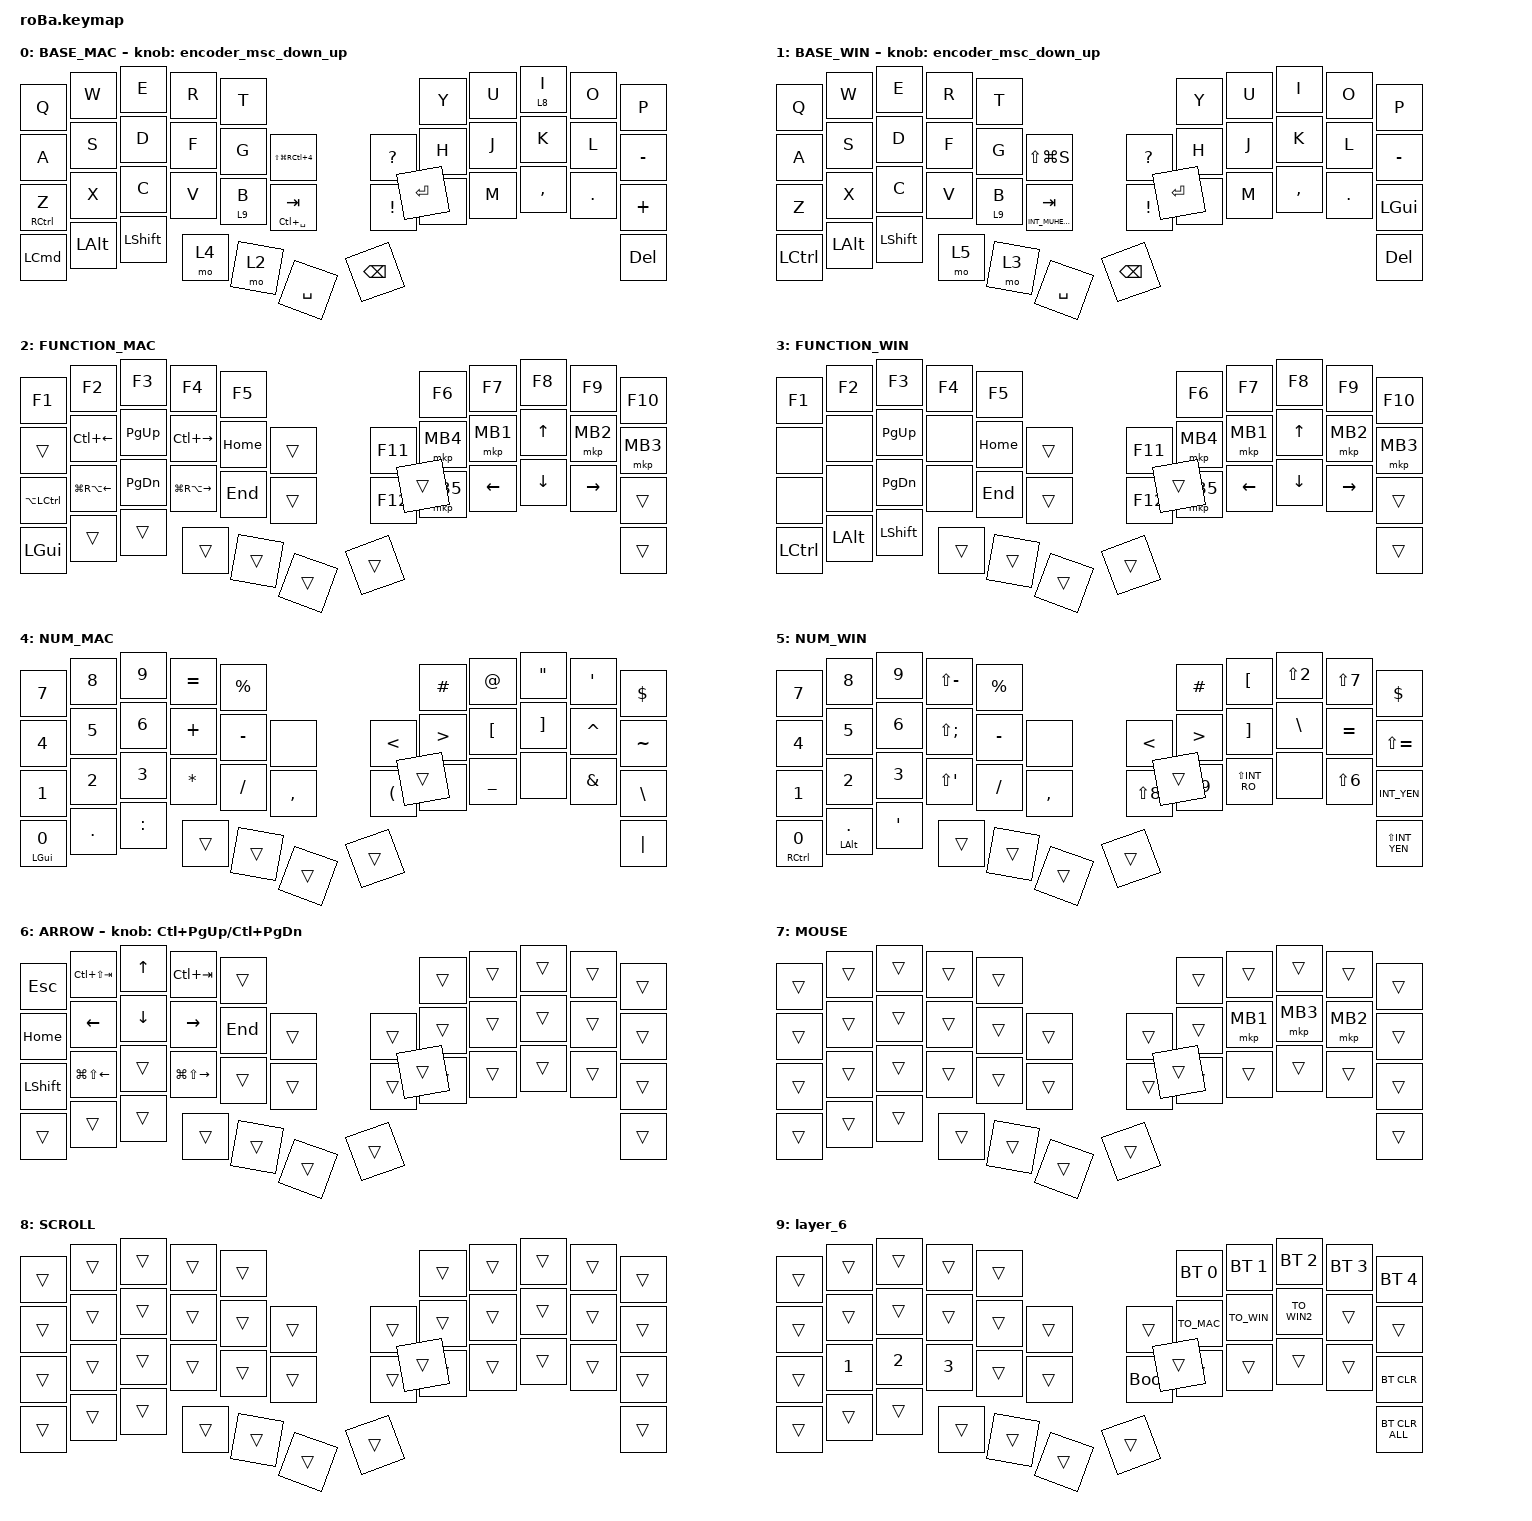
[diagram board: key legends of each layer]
#include <behaviors.dtsi>
#include <dt-bindings/zmk/bt.h>
#include <dt-bindings/zmk/keys.h>
#include <dt-bindings/zmk/pointing.h>

// OS設定が日本語キーボード(JIS)のまま、US配列っぽく打つための定義
// LS = Left Shift

#define JP_DQUOTE     LS(N2)            // " (JISではShift+2)
#define JP_AMPERSAND  LS(N6)            // & (JISではShift+6)
#define JP_QUOTE      LS(N7)            // ' (JISではShift+7)
#define JP_LPAREN     LS(N8)            // ( (JISではShift+8)
#define JP_RPAREN     LS(N9)            // ) (JISではShift+9)
#define JP_EQUAL      LS(MINUS)         // = (JISではShift+-)
#define JP_PLUS       LS(SEMICOLON)     // + (JISではShift+;)
#define JP_ASTERISK   LS(SINGLE_QUOTE)  // * (JISではShift+:)
#define JP_COLON      SINGLE_QUOTE      // : (JISでは物理的な ' の位置)
#define JP_AT         LEFT_BRACKET      // @ (JISでは物理的な [ の位置)
#define JP_LBRACKET   RIGHT_BRACKET     // [ (JISでは物理的な ] の位置)
#define JP_RBRACKET   BACKSLASH         // ] (JISでは物理的な \ の位置)
#define JP_CARET      EQUAL             // ^ (JISでは物理的な = の位置)
#define JP_TILDE      LS(EQUAL)         // ~ (JISではShift+^)
#define JP_PIPE       LS(INT_YEN)      // | (JISの「¥」キー + Shift)
#define JP_UNDERSCORE LS(INT_RO)        // _ (JISではShift+ろ)
#define JP_YEN        INT_RO            // ¥ (JISでは「ろ」のキー)
#define JP_BACKQUOTE  LS(LEFT_BRACKET)  // ` (JISではShift+@)
#define JP_BACKSLASH   INT_YEN           // \ (JISの「¥」キー)

// IME切り替え（Windows用）

#define JP_EISU       INT_MUHENKAN      // 無変換キーを英数へ
#define JP_KANA       INT_HENKAN        // 変換キーをかなへ

//スクロール量変更の定義を追記

#define ZMK_POINTING_DEFAULT_SCRL_VAL 80

&mt {
    flavor = "balanced";
    tapping-term-ms = <300>;
    quick-tap-ms = <0>;
};

&lt {
    tapping-term-ms = <300>;
};

&trackball {
    automouse-layer = <7>;
    scroll-layers = <8>;

    // arrows {
    //     layers = <3>;
    //     bindings =
    //         <&kp RIGHT_ARROW>,
    //         <&kp LEFT_ARROW>,
    //         <&kp UP_ARROW>,
    //         <&kp DOWN_ARROW>;
    //     tick = <10>;
    //     wait-ms = <5>;
    //     tap-ms = <5>;
    // };
};

/ {
    combos {
        compatible = "zmk,combos";

        tab {
            bindings = <&kp ESCAPE>;
            key-positions = <0 1>;
        };
    };

    macros {
        to_layer_0: to_layer_0 {
            compatible = "zmk,behavior-macro-one-param";
            #binding-cells = <1>;
            bindings = <&to 0 &macro_param_1to1 &kp MACRO_PLACEHOLDER>;
            label = "TO_LAYER_0";
        };

        TO_MAC: TO_MAC {
            compatible = "zmk,behavior-macro";
            #binding-cells = <0>;
            bindings = <&none &bt BT_SEL 0 &to 0>;
            label = "TO_MAC";
        };

        TO_WIN: TO_WIN {
            compatible = "zmk,behavior-macro";
            #binding-cells = <0>;
            bindings = <&none &bt BT_SEL 1 &to 1>;
            label = "TO_WIN";
        };

        TO_WIN2: TO_WIN2 {
            compatible = "zmk,behavior-macro";
            #binding-cells = <0>;
            bindings = <&none &bt BT_SEL 2 &to 1>;
            label = "TO_WIN2";
        };
    };

    behaviors {
        //スクロール用のbehavior追加

        encoder_msc_down_up: encoder_msc_down_up {
            compatible = "zmk,behavior-sensor-rotate";
            label = "ENCODER_MSC_DOWN_UP";
            #sensor-binding-cells = <0>;
            bindings = <&msc SCRL_DOWN>, <&msc SCRL_UP>;

            tap-ms = <20>;
        };

        //スクロール用のbehavior追加ここまで

        lt_to_layer_0: lt_to_layer_0 {
            compatible = "zmk,behavior-hold-tap";
            label = "LAYER_TAP_TO_0";
            bindings = <&mo>, <&to_layer_0>;

            #binding-cells = <2>;
            tapping-term-ms = <200>;
        };
    };

    keymap {
        compatible = "zmk,keymap";

        BASE_MAC {
            bindings = <
&kp Q             &kp W         &kp E           &kp R  &kp T                                                   &kp Y       &kp U  &lt 8 I    &kp O    &kp P
&kp A             &kp S         &kp D           &kp F  &kp G    &kp LS(LG(RC(NUMBER_4)))      &kp QUESTION     &kp H       &kp J  &kp K      &kp L    &kp MINUS
&mt RCTRL Z       &kp X         &kp C           &kp V  &lt 9 B  &mt LC(SPACE) TAB             &kp EXCLAMATION  &kp N       &kp M  &kp COMMA  &kp DOT  &kp PLUS
&kp LEFT_COMMAND  &kp LEFT_ALT  &kp LEFT_SHIFT  &mo 4  &mo 2    &kp SPACE                     &kp BACKSPACE    &kp RETURN                             &kp DEL
            >;

            //  sensor-bindings = <&inc_dec_kp PG_UP PAGE_DOWN>;

            sensor-bindings = <&encoder_msc_down_up>;
        };

        BASE_WIN {
            bindings = <
&kp Q             &kp W         &kp E           &kp R  &kp T                                               &kp Y       &kp U  &kp I      &kp O    &kp P
&kp A             &kp S         &kp D           &kp F  &kp G    &kp LS(LG(S))             &kp QUESTION     &kp H       &kp J  &kp K      &kp L    &kp MINUS
&kp Z             &kp X         &kp C           &kp V  &lt 9 B  &mt INT_MUHENKAN TAB      &kp EXCLAMATION  &kp N       &kp M  &kp COMMA  &kp DOT  &kp LEFT_GUI
&kp LEFT_CONTROL  &kp LEFT_ALT  &kp LEFT_SHIFT  &mo 5  &mo 3    &kp SPACE                 &kp BACKSPACE    &kp RETURN                             &kp DEL
            >;

            sensor-bindings = <&encoder_msc_down_up>;
        };

        FUNCTION_MAC {
            bindings = <
&kp F1                &kp F2              &kp F3         &kp F4             &kp F5                         &kp F6    &kp F7          &kp F8        &kp F9     &kp F10
&trans                &kp LC(LEFT_ARROW)  &kp PAGE_UP    &kp LC(RIGHT)      &kp HOME  &trans      &kp F11  &mkp MB4  &mkp MB1        &kp UP_ARROW  &mkp MB2   &mkp MB3
&kp LA(LEFT_CONTROL)  &kp LG(RA(LEFT))    &kp PAGE_DOWN  &kp LG(RA(RIGHT))  &kp END   &trans      &kp F12  &mkp MB5  &kp LEFT_ARROW  &kp DOWN      &kp RIGHT  &trans
&kp LEFT_GUI          &trans              &trans         &trans             &trans    &trans      &trans   &trans                                             &trans
            >;
        };

        FUNCTION_WIN {
            bindings = <
&kp F1            &kp F2        &kp F3          &kp F4  &kp F5                         &kp F6    &kp F7          &kp F8        &kp F9     &kp F10
&none             &none         &kp PAGE_UP     &none   &kp HOME  &trans      &kp F11  &mkp MB4  &mkp MB1        &kp UP_ARROW  &mkp MB2   &mkp MB3
&none             &none         &kp PAGE_DOWN   &none   &kp END   &trans      &kp F12  &mkp MB5  &kp LEFT_ARROW  &kp DOWN      &kp RIGHT  &trans
&kp LEFT_CONTROL  &kp LEFT_ALT  &kp LEFT_SHIFT  &trans  &trans    &trans      &trans   &trans                                             &trans
            >;
        };

        NUM_MAC {
            bindings = <
&kp N7           &kp N8        &kp N9        &kp EQUAL     &kp PERCENT                                       &kp HASH               &kp AT_SIGN       &kp DOUBLE_QUOTES  &kp SQT        &kp DOLLAR
&kp NUMBER_4     &kp N5        &kp NUMBER_6  &kp PLUS      &kp MINUS    &none          &kp LESS_THAN         &kp GREATER_THAN       &kp LEFT_BRACKET  &kp RIGHT_BRACKET  &kp CARET      &kp TILDE
&kp NUMBER_1     &kp NUMBER_2  &kp NUMBER_3  &kp ASTERISK  &kp SLASH    &kp COMMA      &kp LEFT_PARENTHESIS  &kp RIGHT_PARENTHESIS  &kp UNDERSCORE    &none              &kp AMPERSAND  &kp BACKSLASH
&mt LEFT_GUI N0  &kp PERIOD    &kp COLON     &trans        &trans       &trans         &trans                &trans                                                                     &kp PIPE
            >;
        };

        NUM_WIN {
            bindings = <
&kp N7        &kp N8               &kp N9        &kp JP_EQUAL     &kp PERCENT                                &kp HASH          &kp JP_AT          &kp JP_DQUOTE    &kp JP_QUOTE      &kp DOLLAR
&kp NUMBER_4  &kp N5               &kp NUMBER_6  &kp JP_PLUS      &kp MINUS    &none          &kp LESS_THAN  &kp GREATER_THAN  &kp JP_LBRACKET    &kp JP_RBRACKET  &kp JP_CARET      &kp JP_TILDE
&kp NUMBER_1  &kp NUMBER_2         &kp NUMBER_3  &kp JP_ASTERISK  &kp SLASH    &kp COMMA      &kp JP_LPAREN  &kp JP_RPAREN     &kp JP_UNDERSCORE  &none            &kp JP_AMPERSAND  &kp JP_BACKSLASH
&mt RCTRL N0  &mt LEFT_ALT PERIOD  &kp JP_COLON  &trans           &trans       &trans         &trans         &trans                                                                  &kp JP_PIPE
            >;
        };

        ARROW {
            bindings = <
&kp ESCAPE      &kp LC(LS(TAB))         &kp UP_ARROW    &kp LC(TAB)              &trans                       &trans  &trans  &trans  &trans  &trans
&kp HOME        &kp LEFT_ARROW          &kp DOWN_ARROW  &kp RIGHT_ARROW          &kp END  &trans      &trans  &trans  &trans  &trans  &trans  &trans
&kp LEFT_SHIFT  &kp LG(LS(LEFT_ARROW))  &trans          &kp LG(LS(RIGHT_ARROW))  &trans   &trans      &trans  &trans  &trans  &trans  &trans  &trans
&trans          &trans                  &trans          &trans                   &trans   &trans      &trans  &trans                          &trans
            >;

            sensor-bindings = <&inc_dec_kp LC(PAGE_UP) LC(PAGE_DOWN)>;
        };

        MOUSE {
            bindings = <
&trans  &trans  &trans  &trans  &trans                      &trans  &trans    &trans    &trans    &trans
&trans  &trans  &trans  &trans  &trans  &trans      &trans  &trans  &mkp MB1  &mkp MB3  &mkp MB2  &trans
&trans  &trans  &trans  &trans  &trans  &trans      &trans  &trans  &trans    &trans    &trans    &trans
&trans  &trans  &trans  &trans  &trans  &trans      &trans  &trans                                &trans
            >;
        };

        SCROLL {
            bindings = <
&trans  &trans  &trans  &trans  &trans                      &trans  &trans  &trans  &trans  &trans
&trans  &trans  &trans  &trans  &trans  &trans      &trans  &trans  &trans  &trans  &trans  &trans
&trans  &trans  &trans  &trans  &trans  &trans      &trans  &trans  &trans  &trans  &trans  &trans
&trans  &trans  &trans  &trans  &trans  &trans      &trans  &trans                          &trans
            >;
        };

        layer_6 {
            bindings = <
&trans  &trans        &trans        &trans        &trans                           &bt BT_SEL 0  &bt BT_SEL 1  &bt BT_SEL 2  &bt BT_SEL 3  &bt BT_SEL 4
&trans  &trans        &trans        &trans        &trans  &trans      &trans       &TO_MAC       &TO_WIN       &TO_WIN2      &trans        &trans
&trans  &kp NUMBER_1  &kp NUMBER_2  &kp NUMBER_3  &trans  &trans      &bootloader  &trans        &trans        &trans        &trans        &bt BT_CLR
&trans  &trans        &trans        &trans        &trans  &trans      &trans       &trans                                                  &bt BT_CLR_ALL
            >;
        };
    };
};
